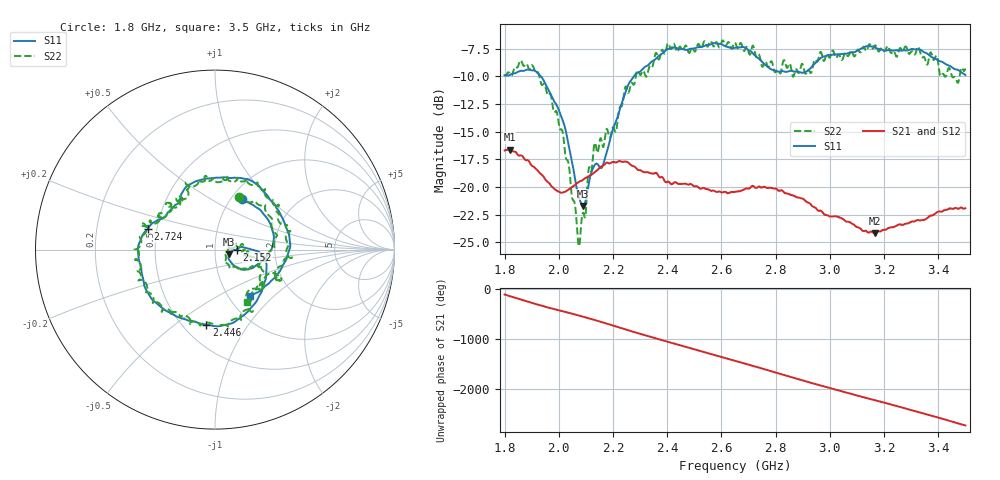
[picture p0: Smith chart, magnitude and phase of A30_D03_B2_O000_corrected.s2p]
! Created with skrf 1.9.0 (http://scikit-rf.org).
# Hz S RI R 50.0
!freq ReS11 ImS11 ReS21 ImS21 ReS12 ImS12 ReS22 ImS22
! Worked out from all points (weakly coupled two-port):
!   1601 points, 1.8 GHz to 3.5 GHz, reference 50 ohm
!   highest |S21| = -16.60 dB at 1.818 GHz (marker M1); lowest = -24.2 dB at 3.165 GHz (marker M2)
!   lowest |S11| = -21.7 dB at 2.09 GHz (marker M3), VSWR 1.18, Z = 58.4 - j3.02 ohm
!   |S11| at or under -10 dB: 1.935 GHz to 2.277 GHz (342.1 MHz wide, 16.2 % of centre)
!   |S22| runs from -25.3 to -6.7 dB; largest |S21 - S12| = 0.0026
!   S11 on the Smith chart (normalised r, x): 1.8 GHz: 1.12, +0.71; 2.152 GHz: 1.28, +0.00; 2.446 GHz: 0.65, -0.66; 2.724 GHz: 0.44, +0.12; 3.5 GHz: 1.25, -0.72
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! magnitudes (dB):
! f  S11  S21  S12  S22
! 1.8 GHz  -9.9  -16.7  -16.7  -9.9
! 1.818 GHz  -9.9  -16.6  -16.6  -9.7
! 1.903 GHz  -9.4  -18.1  -18.1  -9.0
! 1.968 GHz  -11.5  -19.7  -19.8  -11.6
! 2.015 GHz  -14.0  -20.5  -20.5  -15.1
! 2.071 GHz  -20.6  -19.6  -19.6  -24.9
! 2.084 GHz  -21.5  -19.4  -19.4  -23.0
! 2.09 GHz  -21.7  -19.3  -19.4  -22.3
! 2.129 GHz  -18.1  -18.7  -18.7  -16.4
! 2.152 GHz  -18.2  -18.2  -18.2  -15.7
! 2.209 GHz  -14.2  -17.8  -17.7  -15.0
! 2.259 GHz  -10.6  -17.8  -17.9  -11.4
! 2.367 GHz  -8.2  -19.0  -18.9  -8.4
! 2.446 GHz  -7.5  -19.7  -19.7  -7.3
! 2.65 GHz  -7.4  -20.4  -20.4  -6.9
! 2.724 GHz  -8.1  -20.1  -20.0  -7.9
! 2.934 GHz  -9.1  -21.7  -21.7  -9.5
! 3.165 GHz  -7.4  -24.2  -24.1  -7.2
! 3.217 GHz  -7.6  -23.7  -23.7  -7.4
! 3.327 GHz  -7.5  -23.0  -23.0  -7.3
! 3.468 GHz  -9.4  -21.9  -21.9  -10.4
! 3.5 GHz  -9.9  -21.9  -21.9  -9.3
